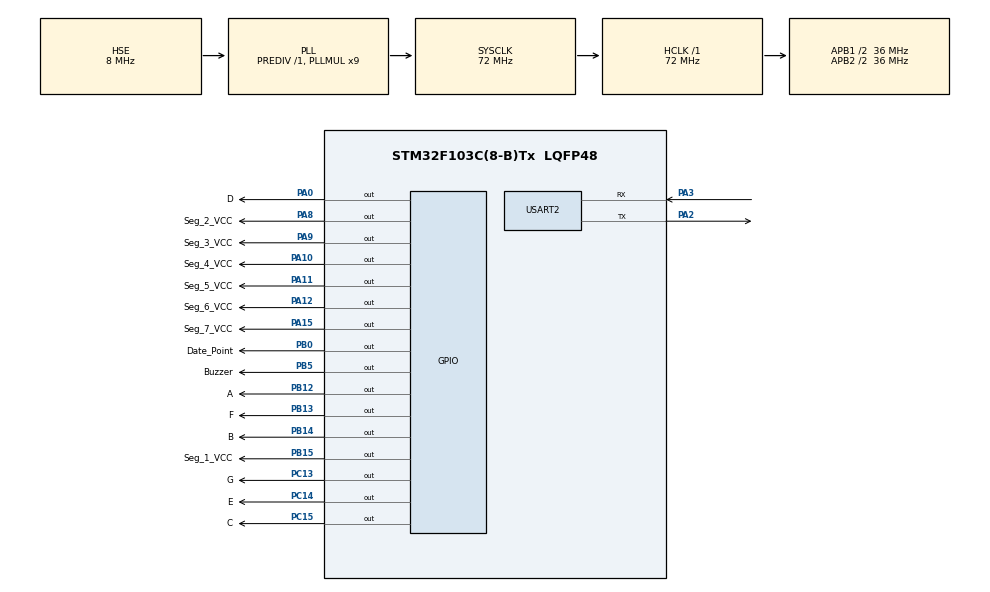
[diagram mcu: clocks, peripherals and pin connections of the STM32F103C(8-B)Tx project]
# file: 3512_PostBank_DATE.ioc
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Mcu.Family=STM32F1
Mcu.Name=STM32F103C(8-B)Tx
Mcu.Package=LQFP48
NVIC.PriorityGroup=NVIC_PRIORITYGROUP_4
NVIC.TIM2_IRQn=true\:0\:0\:false\:false\:true\:true\:true\:true
NVIC.USART2_IRQn=true\:0\:0\:false\:false\:true\:true\:true\:true
PA0-WKUP.GPIO_Label=D
PA0-WKUP.Signal=GPIO_Output
PA10.GPIO_Label=Seg_4_VCC
PA10.Signal=GPIO_Output
PA11.GPIO_Label=Seg_5_VCC
PA11.Signal=GPIO_Output
PA12.GPIO_Label=Seg_6_VCC
PA12.Signal=GPIO_Output
PA13.Mode=Serial_Wire
PA13.Signal=SYS_JTMS-SWDIO
PA14.Mode=Serial_Wire
PA14.Signal=SYS_JTCK-SWCLK
PA15.GPIO_Label=Seg_7_VCC
PA15.Signal=GPIO_Output
PA2.Mode=Asynchronous
PA2.Signal=USART2_TX
PA3.Mode=Asynchronous
PA3.Signal=USART2_RX
PA8.GPIO_Label=Seg_2_VCC
PA8.Signal=GPIO_Output
PA9.GPIO_Label=Seg_3_VCC
PA9.Signal=GPIO_Output
PB0.GPIO_Label=Date_Point
PB0.Signal=GPIO_Output
PB12.GPIO_Label=A
PB12.Signal=GPIO_Output
PB13.GPIO_Label=F
PB13.Signal=GPIO_Output
PB14.GPIO_Label=B
PB14.Signal=GPIO_Output
PB15.GPIO_Label=Seg_1_VCC
PB15.Signal=GPIO_Output
PB5.GPIO_Label=Buzzer
PB5.Signal=GPIO_Output
PC13-TAMPER-RTC.GPIO_Label=G
PC13-TAMPER-RTC.Signal=GPIO_Output
PC14-OSC32_IN.GPIO_Label=E
PC14-OSC32_IN.Signal=GPIO_Output
PC15-OSC32_OUT.GPIO_Label=C
PC15-OSC32_OUT.Signal=GPIO_Output
PD0-OSC_IN.Mode=HSE-External-Oscillator
PD0-OSC_IN.Signal=RCC_OSC_IN
PD1-OSC_OUT.Mode=HSE-External-Oscillator
PD1-OSC_OUT.Signal=RCC_OSC_OUT
ProjectManager.HeapSize=0x200
ProjectManager.StackSize=0x400
ProjectManager.TargetToolchain=STM32CubeIDE
RCC.AHBFreq_Value=72000000
RCC.APB1CLKDivider=RCC_HCLK_DIV2
RCC.APB1Freq_Value=36000000
RCC.APB1TimFreq_Value=72000000
RCC.APB2CLKDivider=RCC_HCLK_DIV2
RCC.APB2Freq_Value=36000000
RCC.APB2TimFreq_Value=72000000
RCC.HCLKFreq_Value=72000000
RCC.PLLMUL=RCC_PLL_MUL9
RCC.PLLSourceVirtual=RCC_PLLSOURCE_HSE
RCC.SYSCLKFreq_VALUE=72000000
RCC.SYSCLKSource=RCC_SYSCLKSOURCE_PLLCLK
RCC.USBFreq_Value=72000000
TIM2.Period=500 - 1
TIM2.Prescaler=72-1
USART2.VirtualMode=VM_ASYNC
VP_TIM2_VS_ClockSourceINT.Mode=Internal
board=custom

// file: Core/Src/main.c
/* USER CODE BEGIN Header */
/**
  ******************************************************************************
  * @file           : main.c
  * @brief          : Main program body
  ******************************************************************************
  * @attention
  *
  * Copyright (c) 2025 STMicroelectronics.
  * All rights reserved.
  *
  * This software is licensed under terms that can be found in the LICENSE file
  * in the root directory of this software component.
  * If no LICENSE file comes with this software, it is provided AS-IS.
  *
  ******************************************************************************
  */
/* USER CODE END Header */
#include "main.h"
#include "tim.h"
#include "usart.h"
#include "gpio.h"

/* USER CODE BEGIN Includes */
#include "IRRemote.h"
#include "SegmentsDriver.h"
#include "Variable.h"
#include "Initialization.h"

/* USER CODE END Includes */

/* USER CODE BEGIN PV */
uint8_t rxIndex = 0;
/* USER CODE END PV */

void SystemClock_Config(void);

int main(void)
{

  /* MCU Configuration--------------------------------------------------------*/

  /* Reset of all peripherals, Initializes the Flash interface and the Systick. */
  HAL_Init();

  /* Configure the system clock */
  SystemClock_Config();

  /* Initialize all configured peripherals */
  MX_GPIO_Init();
  MX_TIM2_Init();
 MX_USART2_UART_Init();
  /* USER CODE BEGIN 2 */
 HAL_UART_Receive_IT(&huart2, &received_data, 1);
  HAL_TIM_Base_Start_IT(&htim2);
  for (int i = 0; i < 10; i++)
    {
      Segment_Set(0,i);
      Segment_Set(1,i);
      Segment_Set(2,i);
      Segment_Set(3,i);
      Segment_Set(4,i);
      Segment_Set(5,i);
      HAL_Delay(200);
      //HAL_GPIO_WritePin(blinky_Point,HIGH);
      HAL_GPIO_WritePin(date_Point,HIGH);
    }
  HAL_GPIO_WritePin(date_Point,LOW);
  Segment_Set(0,'U');Segment_Set(1,'L');Segment_Set(2,0);Segment_Set(3,1);Segment_Set(4,'N');Segment_Set(5,'N');
  HAL_Delay(1000);
  /* USER CODE END 2 */

  /* Infinite loop */
  while (1)
  {

    /* USER CODE BEGIN 3 */
    if(work_Mode == MODE_NORMAL)
    {
      Segment_Set(0,pdate_Year/10);
      Segment_Set(1,pdate_Year%10);
      Segment_Set(2,pdate_Mounth/10);
      Segment_Set(3,pdate_Mounth%10);
      Segment_Set(4,pdate_Day/10);
      Segment_Set(5,pdate_Day%10);

      HAL_GPIO_WritePin(date_Point,GPIO_PIN_SET);

      if(uart_Flag == 1)
      {
        uart_Flag = 0;
        sscanf(rxBuffer, "%2d%2d%2d", &pdate_Year, &pdate_Mounth, &pdate_Day);
        for(int i = 0;i < 6; i++)
          rxBuffer[i] = 0;
      }

    }
  }
  /* USER CODE END 3 */
}

void SystemClock_Config(void)
{
  RCC_OscInitTypeDef RCC_OscInitStruct = {0};
  RCC_ClkInitTypeDef RCC_ClkInitStruct = {0};

  /** Initializes the RCC Oscillators according to the specified parameters
  * in the RCC_OscInitTypeDef structure.
  */
  RCC_OscInitStruct.OscillatorType = RCC_OSCILLATORTYPE_HSE;
  RCC_OscInitStruct.HSEState = RCC_HSE_ON;
  RCC_OscInitStruct.HSEPredivValue = RCC_HSE_PREDIV_DIV1;
  RCC_OscInitStruct.HSIState = RCC_HSI_ON;
  RCC_OscInitStruct.PLL.PLLState = RCC_PLL_ON;
  RCC_OscInitStruct.PLL.PLLSource = RCC_PLLSOURCE_HSE;
  RCC_OscInitStruct.PLL.PLLMUL = RCC_PLL_MUL9;
  if (HAL_RCC_OscConfig(&RCC_OscInitStruct) != HAL_OK)
  {
    Error_Handler();
  }

  /** Initializes the CPU, AHB and APB buses clocks
  */
  RCC_ClkInitStruct.ClockType = RCC_CLOCKTYPE_HCLK|RCC_CLOCKTYPE_SYSCLK
                              |RCC_CLOCKTYPE_PCLK1|RCC_CLOCKTYPE_PCLK2;
  RCC_ClkInitStruct.SYSCLKSource = RCC_SYSCLKSOURCE_PLLCLK;
  RCC_ClkInitStruct.AHBCLKDivider = RCC_SYSCLK_DIV1;
  RCC_ClkInitStruct.APB1CLKDivider = RCC_HCLK_DIV2;
  RCC_ClkInitStruct.APB2CLKDivider = RCC_HCLK_DIV2;

  if (HAL_RCC_ClockConfig(&RCC_ClkInitStruct, FLASH_LATENCY_2) != HAL_OK)
  {
    Error_Handler();
  }
}

/* USER CODE BEGIN 4 */
void HAL_UART_RxCpltCallback(UART_HandleTypeDef *huart)
{
  if (huart->Instance == USART2)
  {
    if (received_data == '\n' )
      {
          rxBuffer[rxIndex] = '\0';  // Null terminate the string
          uart_Flag = 1;
          rxIndex = 0; // Reset index for next message
      }
      else
      {
          rxBuffer[rxIndex++] = received_data;
      }

    // Process or copy received_data here if needed

    // Re-enable UART interrupt for the next message
    HAL_UART_Receive_IT(&huart2, &received_data, 1);
  }
}

/* USER CODE END 4 */

void Error_Handler(void)
{
  __disable_irq();
  while (1)
  {
  }
}
